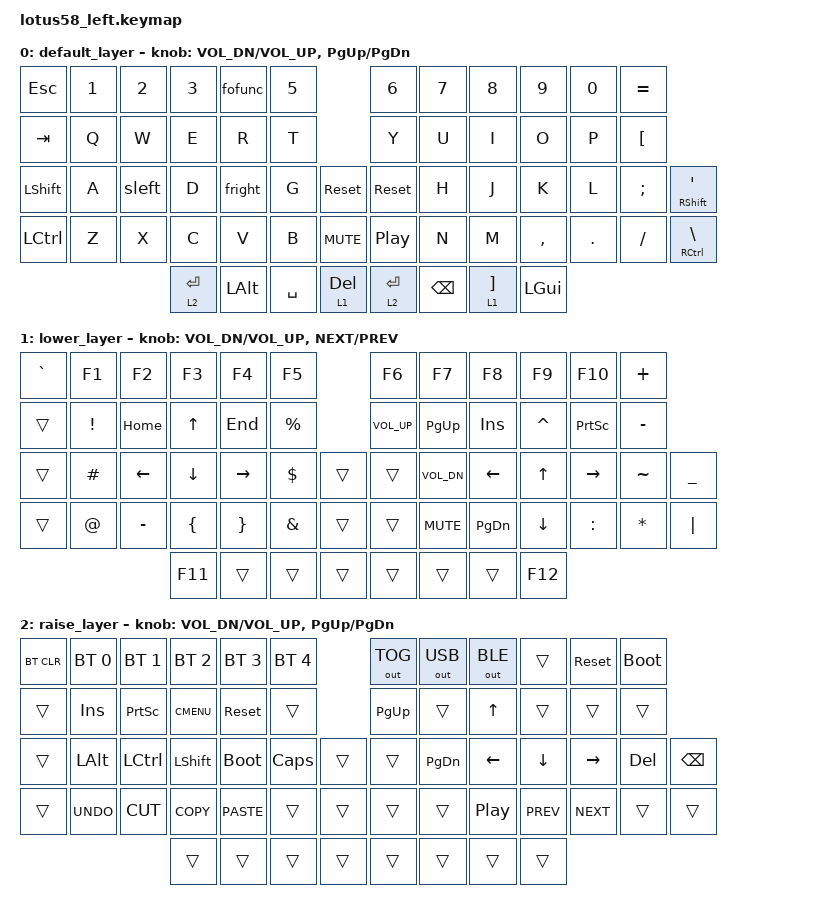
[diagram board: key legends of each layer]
/*
 * Copyright (c) 2022 The ZMK Contributors
 *
 * SPDX-License-Identifier: MIT
 */

#include <behaviors.dtsi>
#include <dt-bindings/zmk/keys.h>
#include <dt-bindings/zmk/bt.h>
#include <dt-bindings/zmk/outputs.h>
#include <dt-bindings/zmk/rgb.h>
#include <dt-bindings/led/led.h>

// &uart0 {
//     status = "okay";
// 	pinctrl-0 = <&uart0_default>;
// 	pinctrl-1 = <&uart0_sleep>;
// 	pinctrl-names = "default", "sleep";

//     led_strip: ws2812@0 {
//         compatible = "worldsemi,ws2812-spi";

//         reg = <0>;
//         spi-max-frequency = <4000000>;

//         /* WS2812 */
//         chain-length = <10>; /* arbitrary; change at will */
//         spi-one-frame = <0x70>;
//         spi-zero-frame = <0x40>;

//         color-mapping = <LED_COLOR_ID_GREEN LED_COLOR_ID_RED LED_COLOR_ID_BLUE>;
//     };
// };

&pinctrl {
    spi1_tx_default: spi1_tx_default {
        group1 {
            psels = <NRF_PSEL(UART_TX, 0, 6)>;
        };
    };

    spi1_tx_sleep: spi1_tx_sleep {
        group1 {
            psels = <NRF_PSEL(UART_TX, 0, 6)>;
            low-power-enable;
        };
    };
};

&spi1 {
    status = "okay";
	pinctrl-0 = <&spi1_tx_default>;
	pinctrl-1 = <&spi1_tx_sleep>;
	pinctrl-names = "default", "sleep";

    led_strip: ws2812@0 {
        compatible = "worldsemi,ws2812-spi";

        reg = <0>;
        spi-max-frequency = <4000000>;

        /* WS2812 */
        chain-length = <10>; /* arbitrary; change at will */
        spi-one-frame = <0x70>;
        spi-zero-frame = <0x40>;

        color-mapping = <LED_COLOR_ID_GREEN LED_COLOR_ID_RED LED_COLOR_ID_BLUE>;
    };
};

/ {
    chosen {
        zmk,underglow = &led_strip;
    };

    combos {
        compatible = "zmk,combos";
        combo_dsklg {
            timeout-ms = <100>;
            key-positions = <24 52>;
            layers = <0>;
            bindings = <&kp LGUI>;
        };
    };

    behaviors {
        fofunc: four_ffour {
            compatible = "zmk,behavior-mod-morph";
            #binding-cells = <0>;
            bindings = <&kp N4>, <&kp F4>;
            mods = <(MOD_LALT|MOD_RALT)>;
        };
        sleft: s_left {
            compatible = "zmk,behavior-mod-morph";
            #binding-cells = <0>;
            bindings = <&kp S>, <&kp LEFT>;
            mods = <(MOD_LGUI|MOD_RGUI)>;
        };
        fright: f_right {
            compatible = "zmk,behavior-mod-morph";
            #binding-cells = <0>;
            bindings = <&kp F>, <&kp RIGHT>;
            mods = <(MOD_LGUI|MOD_RGUI)>;
        };
    };

    keymap {
        compatible = "zmk,keymap";

        default_layer {
//   ------------------------------------------------------------------------------------------------------------
//  0|  ESC  |  1  |  2  |  3   |  4   |  5   |                     |  6   |  7    |  8    |  9   |   0   |   =   | 11
// 12|  TAB  |  Q  |  W  |  E   |  R   |  T   |                     |  Y   |  U    |  I    |  O   |   P   |   [   | 23
// 24|  SFT  |  A  |  S  |  D   |  F   |  G   |  RESET  |  | RESET  |  H   |  J    |  K    |  L   |   ;   | ' SFT | 37
// 38|  CTRL |  Z  |  X  |  C   |  V   |  B   |  MUTE   |  | RGB TOGGLE   |  N   |  M    |  ,    |  .   |   /   | \ CTRL| 51
// 52                    |ENT RS|  ALT | SPACE|DELETE LW|  |ENTER RS| BSPC |  ] LW | RGUI  |                        59
            bindings = <
&kp ESC   &kp N1 &kp N2   &kp N3     &fofunc   &kp N5                               &kp N6    &kp N7      &kp N8    &kp N9   &kp N0   &kp EQUAL
&kp TAB   &kp Q  &kp W    &kp E      &kp R     &kp T                                &kp Y     &kp U       &kp I     &kp O    &kp P    &kp LBKT
&kp LSHFT &kp A  &sleft   &kp D      &fright   &kp G      &sys_reset         &sys_reset     &kp H     &kp J       &kp K     &kp L    &kp SEMI &mt RSHFT SQT
&kp LCTRL &kp Z  &kp X    &kp C      &kp V     &kp B      &kp C_MUTE     &kp C_PP   &kp N     &kp M       &kp COMMA &kp DOT  &kp FSLH &mt RCTRL BSLH
                          &lt 2 RET  &kp LALT  &kp SPACE  &lt 1 DEL      &lt 2 RET  &kp BSPC  &lt 1 RBKT  &kp LGUI
            >;

            sensor-bindings = <&inc_dec_kp C_VOL_DN C_VOL_UP &inc_dec_kp PG_UP PG_DN>;
        };

        lower_layer {
// ------------------------------------------------------------------------------------------------------------
// | `     |  F1 |  F2 |  F3  |  F4  |  F5  |                   |  F6  |  F7   |  F8   |  F9  |  F10  |  F11  |
// |       |  !  | HOME|   ^  |  END |  %   |                   | VOL^ |  PGUP |  INS  |  ^   |  PSCR |   -   |
// |       |  #  |  <- |   v  | ->   |  $   |        |  |       | VOLv |    <- |   ^   |  ->  |   ~   |   _   |
// |       |  @  |  -  |  (   |  )   |  &   |        |  |       | MUTE |  PGDN |   v   |  :   |   *   |   |   |
//                     |  F11 |      |      |        |  |       |      |       |  F12  |
            bindings = <
&kp GRAVE  &kp F1    &kp F2    &kp F3      &kp F4     &kp F5                     &kp F6        &kp F7     &kp F8    &kp F9     &kp F10   &kp PLUS
&trans     &kp EXCL  &kp HOME  &kp UP      &kp END    &kp PRCNT                  &kp C_VOL_UP  &kp PG_UP  &kp INS   &kp CARET  &kp PSCRN &kp MINUS
&trans     &kp HASH  &kp LEFT  &kp DOWN    &kp RIGHT  &kp DLLR  &trans   &trans  &kp C_VOL_DN  &kp LEFT   &kp UP    &kp RIGHT  &kp TILDE &kp UNDER
&trans     &kp AT    &kp MINUS &kp LBRC    &kp RBRC   &kp AMPS  &trans   &trans  &kp C_MUTE    &kp PG_DN  &kp DOWN  &kp COLON  &kp STAR  &kp PIPE
                               &kp F11     &trans     &trans    &trans   &trans  &trans        &trans     &kp F12
            >;

            sensor-bindings = <&inc_dec_kp C_VOL_DN C_VOL_UP &inc_dec_kp C_NEXT C_PREV>;
        };

        raise_layer {
// ------------------------------------------------------------------------------------------------------------
// |BTCLR| BT1  | BT2  |  BT3  |  BT4  |  BT5 |                |OUTTOG|OUTUSB| OUTBT |      | RESET | FLASH |
// |     | INS  | PSCR | GUI   | RESET |      |                | PGUP |      |   ^   |      |       |       |
// |     | ALT  | CTRL | SHIFT | FLASH | CAPS |      |  |      | PGDN |   <- |   v   |  ->  |  DEL  | BSPC  |
// |     | UNDO | CUT  | COPY  | PASTE |      |      |  |      |      |  |>  |  <|<| | |>|> |       |       |
//                     |       |       |      |      |  |      |      |      |       |
            bindings = <
&bt BT_CLR &bt BT_SEL 0 &bt BT_SEL 1 &bt BT_SEL 2 &bt BT_SEL 3 &bt BT_SEL 4                    &out OUT_TOG  &out OUT_USB  &out OUT_BLE  &trans     &sys_reset  &bootloader
&trans     &kp INS      &kp PSCRN    &kp K_CMENU  &sys_reset       &trans                          &kp PG_UP     &trans        &kp UP        &trans     &trans  &trans
&trans     &kp LALT     &kp LCTRL    &kp LSHFT    &bootloader  &kp CLCK     &trans   &trans    &kp PG_DN     &kp LEFT      &kp DOWN      &kp RIGHT  &kp DEL &kp BSPC
&trans     &kp K_UNDO   &kp K_CUT    &kp K_COPY   &kp K_PASTE  &trans       &trans   &trans    &trans        &kp C_PP      &kp C_PREV    &kp C_NEXT &trans  &trans
                                     &trans       &trans       &trans       &trans   &trans    &trans        &trans        &trans
            >;

            sensor-bindings = <&inc_dec_kp C_VOL_DN C_VOL_UP &inc_dec_kp PG_UP PG_DN>;
        };
    };
};
